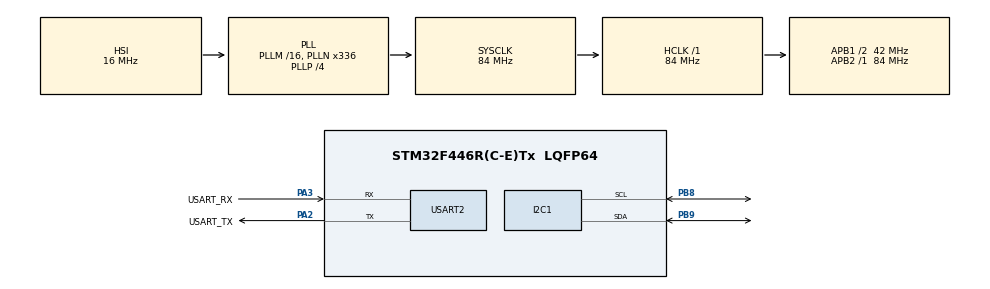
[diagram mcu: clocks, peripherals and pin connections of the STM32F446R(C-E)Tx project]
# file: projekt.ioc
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Dma.I2C1_RX.0.Direction=DMA_PERIPH_TO_MEMORY
Dma.I2C1_RX.0.FIFOMode=DMA_FIFOMODE_DISABLE
Dma.I2C1_RX.0.Instance=DMA1_Stream0
Dma.I2C1_RX.0.MemDataAlignment=DMA_MDATAALIGN_BYTE
Dma.I2C1_RX.0.MemInc=DMA_MINC_ENABLE
Dma.I2C1_RX.0.Mode=DMA_CIRCULAR
Dma.I2C1_RX.0.PeriphDataAlignment=DMA_PDATAALIGN_BYTE
Dma.I2C1_RX.0.PeriphInc=DMA_PINC_DISABLE
Dma.I2C1_RX.0.Priority=DMA_PRIORITY_LOW
Dma.I2C1_TX.1.Direction=DMA_MEMORY_TO_PERIPH
Dma.I2C1_TX.1.FIFOMode=DMA_FIFOMODE_DISABLE
Dma.I2C1_TX.1.Instance=DMA1_Stream6
Dma.I2C1_TX.1.MemDataAlignment=DMA_MDATAALIGN_BYTE
Dma.I2C1_TX.1.MemInc=DMA_MINC_ENABLE
Dma.I2C1_TX.1.Mode=DMA_CIRCULAR
Dma.I2C1_TX.1.PeriphDataAlignment=DMA_PDATAALIGN_BYTE
Dma.I2C1_TX.1.PeriphInc=DMA_PINC_DISABLE
Dma.I2C1_TX.1.Priority=DMA_PRIORITY_LOW
Dma.Request0=I2C1_RX
Dma.Request1=I2C1_TX
Mcu.Family=STM32F4
Mcu.Name=STM32F446R(C-E)Tx
Mcu.Package=LQFP64
NVIC.DMA1_Stream0_IRQn=true\:0\:0\:false\:false\:true\:false\:true\:true
NVIC.DMA1_Stream6_IRQn=true\:0\:0\:false\:false\:true\:false\:true\:true
NVIC.I2C1_ER_IRQn=true\:0\:0\:false\:false\:true\:true\:true\:true
NVIC.I2C1_EV_IRQn=true\:0\:0\:false\:false\:true\:true\:true\:true
NVIC.PriorityGroup=NVIC_PRIORITYGROUP_0
NVIC.USART2_IRQn=true\:0\:0\:false\:false\:true\:true\:true\:true
PA14.GPIO_Label=TCK
PA14.Signal=SYS_JTCK-SWCLK
PA2.GPIO_Label=USART_TX
PA2.Mode=Asynchronous
PA2.Signal=USART2_TX
PA3.GPIO_Label=USART_RX
PA3.Mode=Asynchronous
PA3.Signal=USART2_RX
PB3.GPIO_Label=SWO
PB3.Signal=SYS_JTDO-SWO
PB8.GPIO_Pu=GPIO_NOPULL
PB8.Mode=I2C
PB8.Signal=I2C1_SCL
PB9.GPIO_Pu=GPIO_NOPULL
PB9.Mode=I2C
PB9.Signal=I2C1_SDA
ProjectManager.HeapSize=0x200
ProjectManager.StackSize=0x400
ProjectManager.TargetToolchain=STM32CubeIDE
RCC.48MHZClocksFreq_Value=84000000
RCC.AHBFreq_Value=84000000
RCC.APB1CLKDivider=RCC_HCLK_DIV2
RCC.APB1Freq_Value=42000000
RCC.APB1TimFreq_Value=84000000
RCC.APB2Freq_Value=84000000
RCC.APB2TimFreq_Value=84000000
RCC.CortexFreq_Value=84000000
RCC.FLatency-AdvancedSettings=FLASH_LATENCY_2
RCC.HCLKFreq_Value=84000000
RCC.HSE_VALUE=8000000
RCC.HSI_VALUE=16000000
RCC.PLLN=336
RCC.PLLP=RCC_PLLP_DIV4
RCC.SYSCLKFreq_VALUE=84000000
RCC.SYSCLKSource=RCC_SYSCLKSOURCE_PLLCLK
RCC.USBFreq_Value=168000000
RCC.VCOOutputFreq_Value=336000000
USART2.VirtualMode=VM_ASYNC
board=NUCLEO-F446RE

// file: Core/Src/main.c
/* USER CODE BEGIN Header */
/**
  ******************************************************************************
  * @file           : main.c
  * @brief          : Main program body
  ******************************************************************************
  * @attention
  *
  * Copyright (c) 2024 STMicroelectronics.
  * All rights reserved.
  *
  * This software is licensed under terms that can be found in the LICENSE file
  * in the root directory of this software component.
  * If no LICENSE file comes with this software, it is provided AS-IS.
  *
  ******************************************************************************
  */
/* USER CODE END Header */
#include "main.h"

/* USER CODE BEGIN Includes */
#include <string.h>
#include <stdio.h>
#include <stdarg.h>
#include <stdlib.h>
#include <stdbool.h>
#include <ctype.h>
#include <sensor.h>
/* USER CODE END Includes */

/* USER CODE BEGIN PTD */
typedef enum
{
	FrameStart,
	Source,
	Destination,
	CommandLength,// if '00' go to data
	Command,
	Argument,
	Data,
	FrameEnd
} FrameDetection;
/* USER CODE END PTD */

/* USER CODE BEGIN PD */
#define TX_BUF_LEN 1500// 20 ramek
#define RX_BUF_LEN 75
#define CRC8_POLYNOMIAL 0x07
#define CRC8_INITIAL_VALUE 0x00

/* USER CODE END PD */

/* USER CODE BEGIN PM */
#pragma GCC diagnostic ignored "-Wint-conversion"
#pragma GCC diagnostic ignored "-Wdiscarded-qualifiers"
/* USER CODE END PM */

I2C_HandleTypeDef hi2c1;
DMA_HandleTypeDef hdma_i2c1_rx;
DMA_HandleTypeDef hdma_i2c1_tx;

UART_HandleTypeDef huart2;

/* USER CODE BEGIN PV */
static FrameDetection detection = FrameStart;
uint8_t frame_index = 0;
char src[2];
char dst[2];
char cmd_len[2];
char data[64];// podwójna wielkość dla obsługi kodowania
char cmd[63];// podwójna wielkość dla obsługi kodowania
char cmd_arg[60];// podwójna wielkość dla obsługi kodowania
char checksum[3];
char frame[75];//max length + '<' + '>' + '\0'
uint8_t cmd_length = 64; // zmienna pomocnicza do sprawdzania rozmiarów komend
bool data_check = true;
bool decoding = false;

volatile uint32_t read_interval = 1000;
//zmienne buforowe
volatile uint8_t BUF_RX[RX_BUF_LEN];
volatile uint8_t BUF_TX[TX_BUF_LEN];
volatile uint16_t empty_RX = 0;
volatile uint16_t busy_RX = 0;
volatile uint16_t empty_TX = 0;
volatile uint16_t busy_TX = 0;

volatile SensorMeasurment_t BUF_SENSOR[SENSOR_BUF_LEN];
volatile uint16_t empty_SENSOR = 0;
volatile uint16_t busy_SENSOR = 0;

//command errors
char* new_line = "\r\n\r";
char* e_cmd = "Unknown command";
char* e_arg = "Argument Error";
char* e_index = "Invalid Index";
char* e_data = "No Data Available";

/* USER CODE END PV */

void SystemClock_Config(void);
static void MX_GPIO_Init(void);
static void MX_DMA_Init(void);
static void MX_USART2_UART_Init(void);
static void MX_I2C1_Init(void);
/* USER CODE BEGIN PFP */
void SystemClock_Config(void);
void MX_GPIO_Init(void);
void MX_USART2_UART_Init(void);
/* USER CODE END PFP */

/* USER CODE BEGIN 0 */

int8_t USART_get_char() {//pobieranie z bufora odbiorczego
    // Sprawdź, czy bufor odbiorczy jest pełny
    if (busy_RX == empty_RX) {
        return -1;
    }
    // Pobierz znak z bufora
    int8_t sign = BUF_RX[busy_RX];
    busy_RX++;
    if (busy_RX >= RX_BUF_LEN) {
        busy_RX = 0; // zapętlenie bufora
    }
    return sign; // Zwróć odebrany znak
}

void USART_send(char* message){ //wysyłanie do bufora TX
    uint16_t i,idx = empty_TX;

    for(i=0; message[i] != '\0'; i++){ // przenosimy tekst z wywołania funkcji USART_send do tablicy BUF_TX[]

    	BUF_TX[idx] = message[i];
        idx++;
        if(idx >= TX_BUF_LEN) idx = 0;//zapętlenie idx
    } // cały tekst message[] znajduje się już teraz w BUF_TX[]
    __disable_irq(); //wyłączamy przerwania, bo poniżej kilka linii do zrobienia
    if ((busy_TX == empty_TX)&&(__HAL_UART_GET_FLAG(&huart2, UART_FLAG_TXE)==SET))
      	//sprawdza czy bufor jest pusty
       	//i czy flaga jest ustawiona(czy jest gotowy do ponownej komunikacji)
    {
        empty_TX = idx;
        uint8_t tmp = BUF_TX[busy_TX];//znak do wysłania
        busy_TX++;
        if(busy_TX >= TX_BUF_LEN) busy_TX = 0;//zapętla bufor
        HAL_UART_Transmit_IT(&huart2, &tmp, 1);
    }
    else
    {
        empty_TX = idx;
    }
    __enable_irq(); //ponownie aktywujemy przerwania
}

char temp_log() {
    uint16_t lastIndex = (empty_SENSOR + SENSOR_BUF_LEN - 1) % SENSOR_BUF_LEN;
    char msg[32];
    sprintf(msg, "temperature: %.1fC", BUF_SENSOR[lastIndex].temperature);
    return msg;
}

char moist_log() {
    uint16_t lastIndex = (empty_SENSOR + SENSOR_BUF_LEN - 1) % SENSOR_BUF_LEN;
    char msg[32];
    sprintf(msg, "moisture: %u%%", BUF_SENSOR[lastIndex].moisture);
    return msg;
}

char sensor_log() {
    uint16_t lastIndex = (empty_SENSOR + SENSOR_BUF_LEN - 1) % SENSOR_BUF_LEN;
    char msg[32];
    sprintf(msg, "temp: %.1fC, moist: %u%%", BUF_SENSOR[lastIndex].temperature, BUF_SENSOR[lastIndex].moisture);
    return msg;
}

//Resetuje wszystkie tablice ramki i nasłuchiwanie
void Frame_reset() {
	//zapełnia tablice pustymi znakami, lekko redundantne rozwiązanie
	//ale zapewnia że dane z poprzedniej ramki nie zostaną przypadkowo wykorzystane ponownie
	detection = FrameStart;
	decoding = false;
	frame_index = 0;
	cmd_length = 64;
	data_check = true;
	memset(cmd,		'\0', 63);
	memset(cmd_arg, '\0', 60);
	memset(data,	'\0', 64);

}

//sprawdza poprawność rozmiaru tabli, true - error
bool Size_check(char* tbl, size_t max_size) {
    if (frame_index >= max_size) {
		Frame_reset();
		return true;
	}
	return false;
}

// Funkcja do odwracania bitów w bajcie do crc
uint8_t Reverse_bits(uint8_t byte) {
    uint8_t reversed = 0;
    for (uint8_t i = 0; i < 8; i++) {
        if (byte & (1 << i)) {
            reversed |= (1 << (7 - i));
        }
    }
    return reversed;
}

// Funkcja obliczająca CRC8 dla ciągu znaków
uint8_t Calculate_CRC8(char* data) {
    uint8_t crc = CRC8_INITIAL_VALUE;
    uint8_t length = strlen(data);  // Długość ciągu znaków

    for (uint8_t i = 0; i < length; i++) {
        uint8_t byte = data[i];
        byte = Reverse_bits(byte);  // Odwrócenie bitów w bajcie
        crc ^= byte;  // XOR z bieżącym bajtem

        for (uint8_t j = 0; j < 8; j++) {
            if (crc & 0x80) {//sprawdza MSB
                crc = (crc << 1) ^ CRC8_POLYNOMIAL;  // Przesunięcie i XOR z wielomianem
            } else {
                crc <<= 1;  // Tylko przesunięcie
            }
        }
    }

    return Reverse_bits(crc);  // Odwrócenie bitów CRC na koniec
}

//dokleja tablice x do gotowej ramki
void Frame_merge(char* tbl) {
	for (uint8_t i = 0;i < strlen(tbl);i++) {
		frame[frame_index] = tbl[i];
		frame_index++;
	}
}

//łączy wszystkie tablice ramki danych i dodaje sume kontrolną
void Merge_data_frame() {
	frame[0] = '<';
	frame_index = 1;
	Frame_merge(dst);
	Frame_merge(src);
	Frame_merge(cmd_len);
	Frame_merge(data);
	uint8_t crc = Calculate_CRC8(frame);
	char crc_str[3]; // 2 cyfry plus '\0'
	snprintf(crc_str, sizeof(crc_str), "%02X", crc); // konwersja hex do char
	Frame_merge(crc_str);
	frame[frame_index] = '>';
}

void Frame_compare() {
    USART_send(new_line);
    if (data_check) return;

    if (strcmp(cmd, "cur") == 0) { // Sprawdzenie komendy cur
        char response[32];
        if (cmd_arg[0] == '\0') {
        	sprintf(response, sensor_log(), 32);
        } else if (strcmp(cmd_arg, "t") == 0) {
        	sprintf(response, temp_log(), 32);
        } else if (strcmp(cmd_arg, "m") == 0) {
        	sprintf(response, moist_log(), 32);
        } else {
        	sprintf(response, e_arg, 32);
        }
        strncpy(data, response, 32);
        Merge_data_frame();
        USART_send(frame);

    } else if (strcmp(cmd, "int") == 0) { // Ustawienie lub wyświetlenie interwału
        char response[32];
        uint32_t tmp_int_from_frame = atoi(cmd_arg);

        if (cmd_arg[0] == '\0') { // Wyświetlanie interwału w sekundach
            sprintf(response, "Current Interval: %us", read_interval / 1000);
        } else { // Ustawienie nowego interwału
            read_interval = tmp_int_from_frame * 1000;
            if (tmp_int_from_frame == 0) {
            	sprintf(response, "Interval disabled", 32);
            } else {
                sprintf(response, "Interval set to: %us", 32);
            }
        }
        strncpy(data, response, 32);
        Merge_data_frame();
        USART_send(frame);

    } else if (strcmp(cmd, "data") == 0) { // Obsługa archiwum pomiarów
        if (cmd_arg[0] == '\0') { // Wyświetlenie całego archiwum
            if (busy_SENSOR == empty_SENSOR) { // Sprawdzenie czy bufor nie jest pusty
            	strncpy(data, e_data, 32);
            	Merge_data_frame();
            	USART_send(frame);
            } else {
                uint16_t idx = busy_SENSOR;
                while (idx != empty_SENSOR) {
                    char response[32];
                    sprintf(response, "id: %.1fC, %u%%", BUF_SENSOR[idx].temperature, BUF_SENSOR[idx].moisture);
                    strncpy(data, response, 32);
                    Merge_data_frame();
                    USART_send(frame);
                    idx = (idx + 1) % SENSOR_BUF_LEN;
                }
            }
        } else { // indeks -1 lub konkretna wartość
            int requested_index = atoi(cmd_arg);
            if (requested_index == -1) { // Ostatni pomiar
                if (busy_SENSOR == empty_SENSOR) {
                	strncpy(data, e_data, 32);
                	Merge_data_frame();
                	USART_send(frame);
                } else {
                    uint16_t lastIndex = (empty_SENSOR + SENSOR_BUF_LEN - 1) % SENSOR_BUF_LEN;
                    char response[32];
                    sprintf(response, "id: %.1fC, %u%%", BUF_SENSOR[lastIndex].temperature, BUF_SENSOR[lastIndex].moisture);
                    strncpy(data, response, 32);
                    Merge_data_frame();
                    USART_send(frame);
                }
            } else if (requested_index < 0 || requested_index >= SENSOR_BUF_LEN) { // Indeks poza zakresem
            	strncpy(data, e_index, 32);
            	Merge_data_frame();
            	USART_send(frame);
            } else { // Pobranie konkretnego indeksu
                uint16_t stored_values = (empty_SENSOR >= busy_SENSOR) ? //sprawdza czy bufor sie zawija
                                          (empty_SENSOR - busy_SENSOR) : //zbiera wartości od końca tablicy
                                          (SENSOR_BUF_LEN - busy_SENSOR + empty_SENSOR);// od początku
                if (requested_index >= stored_values) { // Sprawdzenie, czy indeks istnieje
                	strncpy(data, e_index, 32);
                	Merge_data_frame();
                	USART_send(frame);
                } else {
                    uint16_t idx = busy_SENSOR;
                    for (int i = 0; i < requested_index; i++) {
                        idx = (idx + 1) % SENSOR_BUF_LEN;
                    }
                    char response[32];
                    sprintf(response, "id: %.1fC, %u%%", BUF_SENSOR[idx].temperature, BUF_SENSOR[idx].moisture);
                    strncpy(data, response, 32);
                    Merge_data_frame();
                    USART_send(frame);
                }
            }
        }

    } else if (strcmp(cmd, "purge") == 0) { // Czyszczenie bufora
        if (cmd_arg[0] == '\0') {
            for (int i = 0; i < SENSOR_BUF_LEN; i++) {
                BUF_SENSOR[i].temperature = 0.0f;
                BUF_SENSOR[i].moisture = 0;
            }
            // Resetowanie wskaźników bufora
            busy_SENSOR = 0;
            empty_SENSOR = 0;
            strncpy(data, "Cleared all data", 32);
        } else {
        	strncpy(data, e_arg, 32);
        }
        Merge_data_frame();
        USART_send(frame);

    } else {
    	strncpy(data, e_cmd, 32);
    	Merge_data_frame();
    	USART_send(frame);
    }

    Frame_reset();
    USART_send(new_line);
}

//pomocnicza struktura do dekodowania aby przekazać wynik z flagą
typedef struct {
    char decoded_sign; // Rozpoznany znak
    bool is_decoded;   // Czy znak został zdekodowany
} DecodeResult;

// funkcja do dekodowania
DecodeResult Decode(char sign) {
    DecodeResult result = {sign, false}; // Domyślnie: znak nie jest zdekodowany

    if (decoding) {
        decoding = false; // reset stanu po przetworzeniu znaku
        if 		(sign == '1')result = (DecodeResult){'<', true};
        else if (sign == '2')result = (DecodeResult){'>', true};
        else 				 result = (DecodeResult){sign, false}; // Nieoczekiwany znak
    } else if (sign == '/') {
        decoding = true;
        result = (DecodeResult){'\0', false}; // Ignoruj '/'
    }

    return result;
}

void FrameRd()
{
	int8_t x = USART_get_char();
	if (x < 0) return;
	char sign = x;

	if (sign == '<'){
		Frame_reset();
		detection = Source;
		return;
	}

	if (detection == FrameStart) return; // zapobiega błędnemu rozpoznawaniu kodowania poza ramką
	DecodeResult decode_result = Decode(sign);

	switch (detection){
		case FrameStart:
			break;
		case Source:
			src[frame_index] = sign;
			frame_index++;
			if (frame_index == 2){
				frame_index = 0;
				detection = Destination;
			}
			break;
		case Destination:
			dst[frame_index] = sign;
			frame_index++;
			if (frame_index == 2){
				frame_index = 0;
				detection = CommandLength;
			}
			break;
		case CommandLength:
			cmd_len[frame_index] = sign;
			frame_index++;
			if (frame_index == 2){
				decoding = false;
				frame_index = 0;
				data_check = false;
				detection = Command;
				cmd_length = atoi(cmd_len);
				if (strcmp(cmd_len, "00") == 0) {
					data_check = true;
					detection = Data;
					cmd_length = 0;
				}
			}
			if (!isdigit(sign)) {
				Frame_reset();
			}
			break;
		case Command:
			if(Size_check(cmd, 63)) return;
			sign = decode_result.decoded_sign;
			if(sign == '\0') return;
			if (sign == '['){	//zaczyna argument
				frame_index = 0;
				decoding = false;
				detection = Argument;
				return;
			} else{
				cmd[frame_index] = sign; //sprawdza reszte liter komendy
				frame_index++;
				cmd_length--;
			}
			if (cmd_length < 0) {
				Frame_reset();
			}
			break;
		case Argument:
			if(Size_check(cmd_arg, 60)) return;
			sign = decode_result.decoded_sign;
			if(sign == '\0') return;
			if (sign == ']'){  // konczy argument
				frame_index = 0;
				decoding = false;
				detection = FrameEnd;
				return;
			} else{
				cmd_arg[frame_index] = sign;
				frame_index++;
				cmd_length--;
			}
			if (cmd_length < 0) {
				Frame_reset();
			}
			break;
		case Data:
			if(Size_check(data, 64)) return;
			sign = decode_result.decoded_sign;
			if(sign == '\0') {return;}
			else if (sign == '>' && !decode_result.is_decoded){  // konczy dane, else aby rozkodowany znak nie kończł ramki
				decoding = false;
				Frame_compare();
				return;
			}
			data[frame_index] = sign;
			frame_index++;
			if (frame_index >= 64) {
				Frame_reset();
			}
			break;
		case FrameEnd:
			if (sign == '>'){
				Frame_compare();
			} else {
				Frame_reset();
			}
			break;
	}
}

void HAL_UART_TxCpltCallback(UART_HandleTypeDef *huart){//wypisywanie w konsoli
	if(huart == &huart2) {//weryfikacja poprawności wskaźnika
		if(busy_TX != empty_TX){
			uint8_t tmp = BUF_TX[busy_TX];
			busy_TX++;
			if(busy_TX >= TX_BUF_LEN) busy_TX = 0;//zapętlenie indexu
			HAL_UART_Transmit_IT(&huart2, &tmp, 1);
		}
    }
}

void HAL_UART_RxCpltCallback(UART_HandleTypeDef *huart){//odbieranie z konsoli
	if(huart == &huart2) {//weryfikacja poprawności wskaźnika
		if ((empty_RX + 1) % RX_BUF_LEN != busy_RX) {
			//index update
			empty_RX++;
			if(empty_RX >= RX_BUF_LEN)	empty_RX = 0;// zapętlenie bufora
			HAL_UART_Receive_IT(&huart2, &BUF_RX[empty_RX], 1);
		}
		HAL_UART_Transmit_IT(&huart2, &BUF_RX[empty_RX-1], 1);//DEBUG
		//wyświetla ostatni odebrany znak w konsoli do debugowania
	}
}

void welcome() {
	USART_send(new_line);
	USART_send("Hi!!!");
	USART_send(new_line);
}

/* USER CODE END 0 */

int main(void)
{

  /* MCU Configuration--------------------------------------------------------*/

  /* Reset of all peripherals, Initializes the Flash interface and the Systick. */
  HAL_Init();

  /* USER CODE BEGIN Init */
  welcome();
  Frame_reset();

  /* USER CODE END Init */
  /* Configure the system clock */
  SystemClock_Config();
  /* Initialize all configured peripherals */
  MX_GPIO_Init();
  MX_DMA_Init();
  MX_USART2_UART_Init();
  MX_I2C1_Init();
  /* USER CODE BEGIN 2 */
  HAL_UART_Receive_IT(&huart2, &BUF_RX[0],1);
  HAL_UART_RxCpltCallback(&huart2);

  /* USER CODE END 2 */

  /* Infinite loop */
  while (1)
  {

    /* USER CODE BEGIN 3 */
	  sensor_process();
	  FrameRd();
  }
  /* USER CODE END 3 */
}

void SystemClock_Config(void)
{
  RCC_OscInitTypeDef RCC_OscInitStruct = {0};
  RCC_ClkInitTypeDef RCC_ClkInitStruct = {0};

  /** Configure the main internal regulator output voltage
  */
  __HAL_RCC_PWR_CLK_ENABLE();
  __HAL_PWR_VOLTAGESCALING_CONFIG(PWR_REGULATOR_VOLTAGE_SCALE3);

  /** Initializes the RCC Oscillators according to the specified parameters
  * in the RCC_OscInitTypeDef structure.
  */
  RCC_OscInitStruct.OscillatorType = RCC_OSCILLATORTYPE_HSI;
  RCC_OscInitStruct.HSIState = RCC_HSI_ON;
  RCC_OscInitStruct.HSICalibrationValue = RCC_HSICALIBRATION_DEFAULT;
  RCC_OscInitStruct.PLL.PLLState = RCC_PLL_ON;
  RCC_OscInitStruct.PLL.PLLSource = RCC_PLLSOURCE_HSI;
  RCC_OscInitStruct.PLL.PLLM = 16;
  RCC_OscInitStruct.PLL.PLLN = 336;
  RCC_OscInitStruct.PLL.PLLP = RCC_PLLP_DIV4;
  RCC_OscInitStruct.PLL.PLLQ = 2;
  RCC_OscInitStruct.PLL.PLLR = 2;
  if (HAL_RCC_OscConfig(&RCC_OscInitStruct) != HAL_OK)
  {
    Error_Handler();
  }

  /** Initializes the CPU, AHB and APB buses clocks
  */
  RCC_ClkInitStruct.ClockType = RCC_CLOCKTYPE_HCLK|RCC_CLOCKTYPE_SYSCLK
                              |RCC_CLOCKTYPE_PCLK1|RCC_CLOCKTYPE_PCLK2;
  RCC_ClkInitStruct.SYSCLKSource = RCC_SYSCLKSOURCE_PLLCLK;
  RCC_ClkInitStruct.AHBCLKDivider = RCC_SYSCLK_DIV1;
  RCC_ClkInitStruct.APB1CLKDivider = RCC_HCLK_DIV2;
  RCC_ClkInitStruct.APB2CLKDivider = RCC_HCLK_DIV1;

  if (HAL_RCC_ClockConfig(&RCC_ClkInitStruct, FLASH_LATENCY_2) != HAL_OK)
  {
    Error_Handler();
  }
}

static void MX_I2C1_Init(void)
{

  hi2c1.Instance = I2C1;
  hi2c1.Init.ClockSpeed = 100000;
  hi2c1.Init.DutyCycle = I2C_DUTYCYCLE_2;
  hi2c1.Init.OwnAddress1 = 0;
  hi2c1.Init.AddressingMode = I2C_ADDRESSINGMODE_7BIT;
  hi2c1.Init.DualAddressMode = I2C_DUALADDRESS_DISABLE;
  hi2c1.Init.OwnAddress2 = 0;
  hi2c1.Init.GeneralCallMode = I2C_GENERALCALL_DISABLE;
  hi2c1.Init.NoStretchMode = I2C_NOSTRETCH_DISABLE;
  if (HAL_I2C_Init(&hi2c1) != HAL_OK)
  {
    Error_Handler();
  }

}

static void MX_USART2_UART_Init(void)
{

  huart2.Instance = USART2;
  huart2.Init.BaudRate = 115200;
  huart2.Init.WordLength = UART_WORDLENGTH_8B;
  huart2.Init.StopBits = UART_STOPBITS_1;
  huart2.Init.Parity = UART_PARITY_NONE;
  huart2.Init.Mode = UART_MODE_TX_RX;
  huart2.Init.HwFlowCtl = UART_HWCONTROL_NONE;
  huart2.Init.OverSampling = UART_OVERSAMPLING_16;
  if (HAL_UART_Init(&huart2) != HAL_OK)
  {
    Error_Handler();
  }

}

static void MX_DMA_Init(void)
{

  /* DMA controller clock enable */
  __HAL_RCC_DMA1_CLK_ENABLE();

  /* DMA interrupt init */
  /* DMA1_Stream0_IRQn interrupt configuration */
  HAL_NVIC_SetPriority(DMA1_Stream0_IRQn, 0, 0);
  HAL_NVIC_EnableIRQ(DMA1_Stream0_IRQn);
  /* DMA1_Stream6_IRQn interrupt configuration */
  HAL_NVIC_SetPriority(DMA1_Stream6_IRQn, 0, 0);
  HAL_NVIC_EnableIRQ(DMA1_Stream6_IRQn);

}

static void MX_GPIO_Init(void)
{

  /* GPIO Ports Clock Enable */
  __HAL_RCC_GPIOA_CLK_ENABLE();
  __HAL_RCC_GPIOB_CLK_ENABLE();

}

void Error_Handler(void)
{
  __disable_irq();
  while (1)
  {
  }
}
